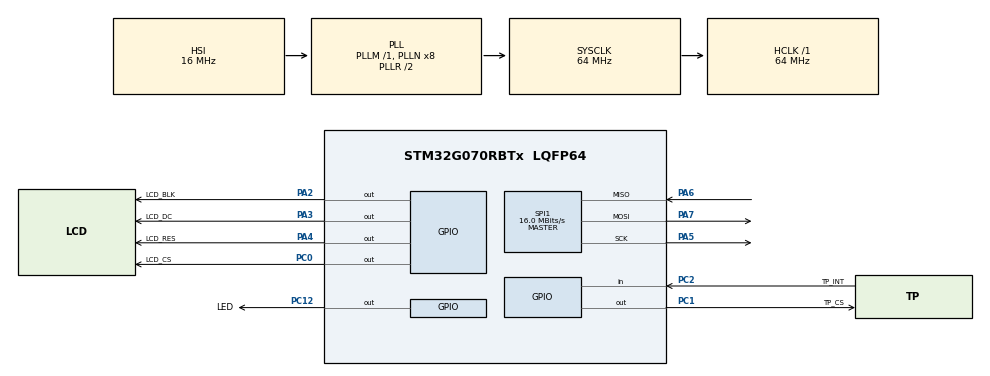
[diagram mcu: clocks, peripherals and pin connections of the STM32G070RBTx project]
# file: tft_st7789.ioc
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Mcu.Family=STM32G0
Mcu.Name=STM32G070RBTx
Mcu.Package=LQFP64
PA13.Mode=Serial_Wire
PA13.Signal=SYS_SWDIO
PA14-BOOT0.Mode=Serial_Wire
PA14-BOOT0.Signal=SYS_SWCLK
PA2.GPIO_Label=LCD_BLK
PA2.GPIO_ModeDefaultOutputPP=GPIO_MODE_OUTPUT_PP
PA2.GPIO_Speed=GPIO_SPEED_FREQ_MEDIUM
PA2.PinState=GPIO_PIN_SET
PA2.Signal=GPIO_Output
PA3.GPIO_Label=LCD_DC
PA3.GPIO_ModeDefaultOutputPP=GPIO_MODE_OUTPUT_PP
PA3.GPIO_Speed=GPIO_SPEED_FREQ_MEDIUM
PA3.PinState=GPIO_PIN_SET
PA3.Signal=GPIO_Output
PA4.GPIO_Label=LCD_RES
PA4.GPIO_ModeDefaultOutputPP=GPIO_MODE_OUTPUT_PP
PA4.GPIO_Speed=GPIO_SPEED_FREQ_MEDIUM
PA4.PinState=GPIO_PIN_SET
PA4.Signal=GPIO_Output
PA5.Mode=Full_Duplex_Master
PA5.Signal=SPI1_SCK
PA6.Mode=Full_Duplex_Master
PA6.Signal=SPI1_MISO
PA7.Mode=Full_Duplex_Master
PA7.Signal=SPI1_MOSI
PC0.GPIO_Label=LCD_CS
PC0.GPIO_ModeDefaultOutputPP=GPIO_MODE_OUTPUT_PP
PC0.GPIO_Speed=GPIO_SPEED_FREQ_MEDIUM
PC0.PinState=GPIO_PIN_SET
PC0.Signal=GPIO_Output
PC1.GPIO_Label=TP_CS
PC1.PinState=GPIO_PIN_SET
PC1.Signal=GPIO_Output
PC12.GPIO_Label=LED
PC12.Signal=GPIO_Output
PC2.GPIO_Label=TP_INT
PC2.GPIO_PuPd=GPIO_PULLUP
PC2.Signal=GPIO_Input
ProjectManager.HeapSize=0x200
ProjectManager.StackSize=0x400
ProjectManager.TargetToolchain=CMake
RCC.ADCFreq_Value=64000000
RCC.AHBFreq_Value=64000000
RCC.CortexFreq_Value=64000000
RCC.EXTERNAL_CLOCK_VALUE=48000
RCC.HCLKFreq_Value=64000000
RCC.HSE_VALUE=8000000
RCC.HSI_VALUE=16000000
RCC.LSE_VALUE=32768
RCC.SYSCLKFreq_VALUE=64000000
RCC.SYSCLKSource=RCC_SYSCLKSOURCE_PLLCLK
RCC.VCOOutputFreq_Value=128000000
SPI1.BaudRatePrescaler=SPI_BAUDRATEPRESCALER_4
SPI1.CalculateBaudRate=16.0 MBits/s
SPI1.DataSize=SPI_DATASIZE_8BIT
SPI1.Direction=SPI_DIRECTION_2LINES
SPI1.Mode=SPI_MODE_MASTER
SPI1.VirtualType=VM_MASTER
board=custom

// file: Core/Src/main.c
/* USER CODE BEGIN Header */
/**
 ******************************************************************************
 * @file           : main.c
 * @brief          : Main program body
 ******************************************************************************
 * @attention
 *
 * Copyright (c) 2025 STMicroelectronics.
 * All rights reserved.
 *
 * This software is licensed under terms that can be found in the LICENSE file
 * in the root directory of this software component.
 * If no LICENSE file comes with this software, it is provided AS-IS.
 *
 ******************************************************************************
 */
/* USER CODE END Header */
#include "main.h"
#include "spi.h"
#include "gpio.h"

/* USER CODE BEGIN Includes */
#include "log.h"
#include "st7789.h"
#include "xpt2046.h"

/* USER CODE END Includes */

void SystemClock_Config(void);

int main(void)
{

    /* MCU Configuration--------------------------------------------------------*/

    /* Reset of all peripherals, Initializes the Flash interface and the Systick. */
    HAL_Init();

    /* Configure the system clock */
    SystemClock_Config();

    /* Initialize all configured peripherals */
    MX_GPIO_Init();
    MX_SPI1_Init();
    /* USER CODE BEGIN 2 */

    log_init(LOG_TRACE, false);

    log_debug("init.");

    st7789_init();
    xpt2046_init();

    st7789_fill_rect(0, 0, TFT_WIDTH, TFT_HEIGHT, BLACK);

    for (uint16_t x = 0; x < 240; x++)
    {
        st7789_draw_pixel(x, x, GREEN);
    }
    for (uint16_t y = 0; y < 240; y++)
    {
        st7789_draw_pixel(y, 240 - y, BLUE);
    }

    // HAL_Delay(5000);

    uint16_t x = 0;
    uint16_t y = 0;

    /* USER CODE END 2 */

    /* Infinite loop */
    while (1)
    {

        /* USER CODE BEGIN 3 */

        if (xpt2046_touched())
        {

            bool ret = xpt2046_get_pos(&x, &y);
            if (ret)
            {
                log_info("point = %d,%d", x, y);

                st7789_draw_pixel(x, y, RED);
            }

            // HAL_Delay(1);
        }
    }
    /* USER CODE END 3 */
}

void SystemClock_Config(void)
{
    RCC_OscInitTypeDef RCC_OscInitStruct = {0};
    RCC_ClkInitTypeDef RCC_ClkInitStruct = {0};

    /** Configure the main internal regulator output voltage
     */
    HAL_PWREx_ControlVoltageScaling(PWR_REGULATOR_VOLTAGE_SCALE1);

    /** Initializes the RCC Oscillators according to the specified parameters
     * in the RCC_OscInitTypeDef structure.
     */
    RCC_OscInitStruct.OscillatorType = RCC_OSCILLATORTYPE_HSI;
    RCC_OscInitStruct.HSIState = RCC_HSI_ON;
    RCC_OscInitStruct.HSIDiv = RCC_HSI_DIV1;
    RCC_OscInitStruct.HSICalibrationValue = RCC_HSICALIBRATION_DEFAULT;
    RCC_OscInitStruct.PLL.PLLState = RCC_PLL_ON;
    RCC_OscInitStruct.PLL.PLLSource = RCC_PLLSOURCE_HSI;
    RCC_OscInitStruct.PLL.PLLM = RCC_PLLM_DIV1;
    RCC_OscInitStruct.PLL.PLLN = 8;
    RCC_OscInitStruct.PLL.PLLP = RCC_PLLP_DIV2;
    RCC_OscInitStruct.PLL.PLLR = RCC_PLLR_DIV2;
    if (HAL_RCC_OscConfig(&RCC_OscInitStruct) != HAL_OK)
    {
        Error_Handler();
    }

    /** Initializes the CPU, AHB and APB buses clocks
     */
    RCC_ClkInitStruct.ClockType = RCC_CLOCKTYPE_HCLK | RCC_CLOCKTYPE_SYSCLK | RCC_CLOCKTYPE_PCLK1;
    RCC_ClkInitStruct.SYSCLKSource = RCC_SYSCLKSOURCE_PLLCLK;
    RCC_ClkInitStruct.AHBCLKDivider = RCC_SYSCLK_DIV1;
    RCC_ClkInitStruct.APB1CLKDivider = RCC_HCLK_DIV1;

    if (HAL_RCC_ClockConfig(&RCC_ClkInitStruct, FLASH_LATENCY_2) != HAL_OK)
    {
        Error_Handler();
    }
}

void Error_Handler(void)
{
    __disable_irq();
    while (1)
    {
    }
}

#ifdef USE_FULL_ASSERT
/**
 * @brief  Reports the name of the source file and the source line number
 *         where the assert_param error has occurred.
 * @param  file: pointer to the source file name
 * @param  line: assert_param error line source number
 * @retval None
 */
void assert_failed(uint8_t *file, uint32_t line)
{
    /* USER CODE BEGIN 6 */
    /* User can add his own implementation to report the file name and line
       number, ex: printf("Wrong parameters value: file %s on line %d\r\n", file,
       line) */
    /* USER CODE END 6 */
}
#endif /* USE_FULL_ASSERT */
